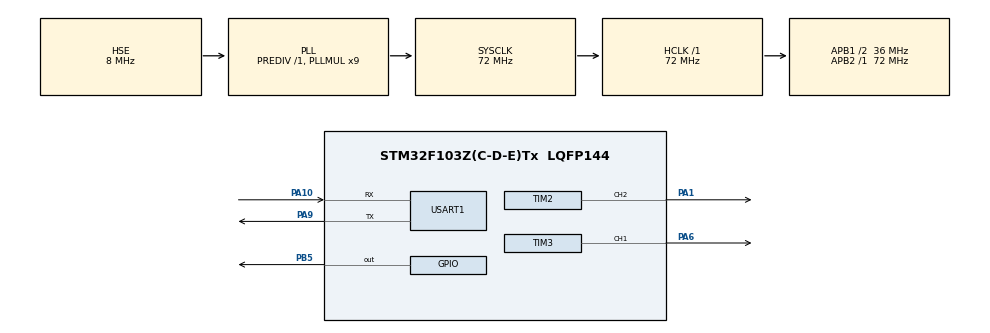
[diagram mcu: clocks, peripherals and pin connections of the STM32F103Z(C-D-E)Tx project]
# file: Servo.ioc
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Mcu.Family=STM32F1
Mcu.Name=STM32F103Z(C-D-E)Tx
Mcu.Package=LQFP144
NVIC.PriorityGroup=NVIC_PRIORITYGROUP_4
NVIC.TIM2_IRQn=true\:0\:0\:false\:false\:true\:true\:true\:true
NVIC.USART1_IRQn=true\:0\:0\:false\:false\:true\:true\:true\:true
OSC_IN.Mode=HSE-External-Oscillator
OSC_IN.Signal=RCC_OSC_IN
OSC_OUT.Mode=HSE-External-Oscillator
OSC_OUT.Signal=RCC_OSC_OUT
PA1.Signal=S_TIM2_CH2
PA10.Mode=Asynchronous
PA10.Signal=USART1_RX
PA13.Mode=Serial_Wire
PA13.Signal=SYS_JTMS-SWDIO
PA14.Mode=Serial_Wire
PA14.Signal=SYS_JTCK-SWCLK
PA6.Signal=S_TIM3_CH1
PA9.Mode=Asynchronous
PA9.Signal=USART1_TX
PB5.Signal=GPIO_Output
ProjectManager.HeapSize=0x200
ProjectManager.StackSize=0x400
ProjectManager.TargetToolchain=MDK-ARM V5.27
RCC.AHBFreq_Value=72000000
RCC.APB1CLKDivider=RCC_HCLK_DIV2
RCC.APB1Freq_Value=36000000
RCC.APB1TimFreq_Value=72000000
RCC.APB2Freq_Value=72000000
RCC.APB2TimFreq_Value=72000000
RCC.HCLKFreq_Value=72000000
RCC.PLLMUL=RCC_PLL_MUL9
RCC.PLLSourceVirtual=RCC_PLLSOURCE_HSE
RCC.SYSCLKFreq_VALUE=72000000
RCC.SYSCLKSource=RCC_SYSCLKSOURCE_PLLCLK
RCC.USBFreq_Value=72000000
SH.S_TIM2_CH2.0=TIM2_CH2,Output Compare2 CH2
SH.S_TIM3_CH1.0=TIM3_CH1,PWM Generation1 CH1
TIM2.Channel-Output\ Compare2\ CH2=TIM_CHANNEL_2
TIM2.Period=10000-1
TIM2.Prescaler=7200-1
TIM3.Channel-PWM\ Generation1\ CH1=TIM_CHANNEL_1
TIM3.Period=20000-1
TIM3.Prescaler=72-1
TIM3.Pulse-PWM\ Generation1\ CH1=0
USART1.VirtualMode=VM_ASYNC
VP_TIM2_VS_ClockSourceINT.Mode=Internal
VP_TIM3_VS_ClockSourceINT.Mode=Internal
board=custom

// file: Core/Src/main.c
/* USER CODE BEGIN Header */
/**
 ******************************************************************************
 * @file           : main.c
 * @brief          : Main program body
 ******************************************************************************
 * @attention
 *
 * Copyright (c) 2026 STMicroelectronics.
 * All rights reserved.
 *
 * This software is licensed under terms that can be found in the LICENSE file
 * in the root directory of this software component.
 * If no LICENSE file comes with this software, it is provided AS-IS.
 *
 ******************************************************************************
 */
/* USER CODE END Header */
#include "main.h"
#include "tim.h"
#include "usart.h"
#include "gpio.h"

/* USER CODE BEGIN Includes */
#include "servo.h"
#include "timer_led.h"
#include "usart_transport.h"
#include <limits.h>
#include <stdbool.h>
#include <stdio.h>
/* USER CODE END Includes */

void SystemClock_Config(void);

/* USER CODE BEGIN 0 */
static bool ReadIntegerCommand(int *value)
{
    static int number = -1; /* -1: empty, -2: invalid, >= 0: parsed value. */
    uint8_t    byte;

    if (!UsartTransport_Read(&byte)) {
        return false;
    }

    if (byte == '\r' || byte == '\n') {
        bool complete = number >= 0;
        if (complete) {
            *value = number;
        }
        number = -1;
        return complete;
    }

    if (number == -1) {
        number = 0;
    }
    if (number >= 0) {
        if (byte >= '0' && byte <= '9' && number <= (INT_MAX - (byte - '0')) / 10) {
            number = number * 10 + (byte - '0');
        } else {
            number = -2;
        }
    }
    return false;
}

static void ProcessServoCommand(void)
{
    int angle;

    if (ReadIntegerCommand(&angle) && angle <= (int)SERVO_MAX_ANGLE) {
        Servo_SetAngle((uint16_t)angle);
    }
}

/* USER CODE END 0 */

int main(void)
{

    /* MCU Configuration--------------------------------------------------------*/

    /* Reset of all peripherals, Initializes the Flash interface and the Systick. */
    HAL_Init();

    /* Configure the system clock */
    SystemClock_Config();

    /* Initialize all configured peripherals */
    MX_GPIO_Init();
    MX_TIM3_Init();
    MX_USART1_UART_Init();
    MX_TIM2_Init();
    /* USER CODE BEGIN 2 */
    if (Servo_Init() != HAL_OK) {
        Error_Handler();
    }
    UsartTransport_Init();
    if (HAL_TIM_Base_Start_IT(&htim2) != HAL_OK) {
        Error_Handler();
    }
    printf("Servo ready\r\n");
    /* USER CODE END 2 */

    /* Infinite loop */
    while (1) {

        /* USER CODE BEGIN 3 */
        ProcessServoCommand();
    }
    /* USER CODE END 3 */
}

void SystemClock_Config(void)
{
    RCC_OscInitTypeDef RCC_OscInitStruct = {0};
    RCC_ClkInitTypeDef RCC_ClkInitStruct = {0};

    /** Initializes the RCC Oscillators according to the specified parameters
     * in the RCC_OscInitTypeDef structure.
     */
    RCC_OscInitStruct.OscillatorType = RCC_OSCILLATORTYPE_HSE;
    RCC_OscInitStruct.HSEState       = RCC_HSE_ON;
    RCC_OscInitStruct.HSEPredivValue = RCC_HSE_PREDIV_DIV1;
    RCC_OscInitStruct.HSIState       = RCC_HSI_ON;
    RCC_OscInitStruct.PLL.PLLState   = RCC_PLL_ON;
    RCC_OscInitStruct.PLL.PLLSource  = RCC_PLLSOURCE_HSE;
    RCC_OscInitStruct.PLL.PLLMUL     = RCC_PLL_MUL9;
    if (HAL_RCC_OscConfig(&RCC_OscInitStruct) != HAL_OK) {
        Error_Handler();
    }

    /** Initializes the CPU, AHB and APB buses clocks
     */
    RCC_ClkInitStruct.ClockType =
        RCC_CLOCKTYPE_HCLK | RCC_CLOCKTYPE_SYSCLK | RCC_CLOCKTYPE_PCLK1 | RCC_CLOCKTYPE_PCLK2;
    RCC_ClkInitStruct.SYSCLKSource   = RCC_SYSCLKSOURCE_PLLCLK;
    RCC_ClkInitStruct.AHBCLKDivider  = RCC_SYSCLK_DIV1;
    RCC_ClkInitStruct.APB1CLKDivider = RCC_HCLK_DIV2;
    RCC_ClkInitStruct.APB2CLKDivider = RCC_HCLK_DIV1;

    if (HAL_RCC_ClockConfig(&RCC_ClkInitStruct, FLASH_LATENCY_2) != HAL_OK) {
        Error_Handler();
    }
}

void Error_Handler(void)
{
    __disable_irq();
    while (1) {
    }
}
